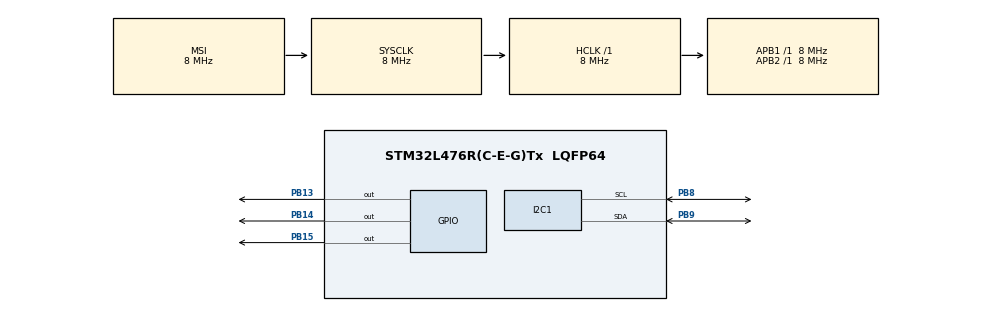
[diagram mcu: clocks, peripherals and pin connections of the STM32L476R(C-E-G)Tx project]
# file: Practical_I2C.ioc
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I2C1.Timing=0x2000090E
Mcu.Family=STM32L4
Mcu.Name=STM32L476R(C-E-G)Tx
Mcu.Package=LQFP64
NVIC.PriorityGroup=NVIC_PRIORITYGROUP_4
PA13\ (JTMS-SWDIO).Mode=Serial_Wire
PA13\ (JTMS-SWDIO).Signal=SYS_JTMS-SWDIO
PA14\ (JTCK-SWCLK).Mode=Serial_Wire
PA14\ (JTCK-SWCLK).Signal=SYS_JTCK-SWCLK
PB13.Signal=GPIO_Output
PB14.Signal=GPIO_Output
PB15.Signal=GPIO_Output
PB8.Mode=I2C
PB8.Signal=I2C1_SCL
PB9.Mode=I2C
PB9.Signal=I2C1_SDA
ProjectManager.HeapSize=0x200
ProjectManager.StackSize=0x400
ProjectManager.TargetToolchain=MDK-ARM V5
RCC.ADCFreq_Value=32000000
RCC.AHBFreq_Value=8000000
RCC.APB1Freq_Value=8000000
RCC.APB1TimFreq_Value=8000000
RCC.APB2Freq_Value=8000000
RCC.APB2TimFreq_Value=8000000
RCC.CortexFreq_Value=8000000
RCC.HCLKFreq_Value=8000000
RCC.HSE_VALUE=8000000
RCC.HSI_VALUE=16000000
RCC.LSE_VALUE=32768
RCC.MSIClockRange=RCC_MSIRANGE_7
RCC.MSI_VALUE=8000000
RCC.SYSCLKFreq_VALUE=8000000
RCC.USBFreq_Value=32000000
RCC.VCOOutputFreq_Value=64000000
board=custom

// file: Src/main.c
/* USER CODE BEGIN Header */
/**
  ******************************************************************************
  * @file           : main.c
  * @brief          : Main program body
  ******************************************************************************
  ** This notice applies to any and all portions of this file
  * that are not between comment pairs USER CODE BEGIN and
  * USER CODE END. Other portions of this file, whether
  * inserted by the user or by software development tools
  * are owned by their respective copyright owners.
  *
  * COPYRIGHT(c) 2019 STMicroelectronics
  *
  * Redistribution and use in source and binary forms, with or without modification,
  * are permitted provided that the following conditions are met:
  *   1. Redistributions of source code must retain the above copyright notice,
  *      this list of conditions and the following disclaimer.
  *   2. Redistributions in binary form must reproduce the above copyright notice,
  *      this list of conditions and the following disclaimer in the documentation
  *      and/or other materials provided with the distribution.
  *   3. Neither the name of STMicroelectronics nor the names of its contributors
  *      may be used to endorse or promote products derived from this software
  *      without specific prior written permission.
  *
  * THIS SOFTWARE IS PROVIDED BY THE COPYRIGHT HOLDERS AND CONTRIBUTORS "AS IS"
  * AND ANY EXPRESS OR IMPLIED WARRANTIES, INCLUDING, BUT NOT LIMITED TO, THE
  * IMPLIED WARRANTIES OF MERCHANTABILITY AND FITNESS FOR A PARTICULAR PURPOSE ARE
  * DISCLAIMED. IN NO EVENT SHALL THE COPYRIGHT HOLDER OR CONTRIBUTORS BE LIABLE
  * FOR ANY DIRECT, INDIRECT, INCIDENTAL, SPECIAL, EXEMPLARY, OR CONSEQUENTIAL
  * DAMAGES (INCLUDING, BUT NOT LIMITED TO, PROCUREMENT OF SUBSTITUTE GOODS OR
  * SERVICES; LOSS OF USE, DATA, OR PROFITS; OR BUSINESS INTERRUPTION) HOWEVER
  * CAUSED AND ON ANY THEORY OF LIABILITY, WHETHER IN CONTRACT, STRICT LIABILITY,
  * OR TORT (INCLUDING NEGLIGENCE OR OTHERWISE) ARISING IN ANY WAY OUT OF THE USE
  * OF THIS SOFTWARE, EVEN IF ADVISED OF THE POSSIBILITY OF SUCH DAMAGE.
  *
  ******************************************************************************
  */
/* USER CODE END Header */

#include "main.h"

/* USER CODE BEGIN Includes */
#include "stdio.h"
/* USER CODE END Includes */

I2C_HandleTypeDef hi2c1;

/* USER CODE BEGIN PV */
	uint8_t Address;
	uint16_t Value;
	uint16_t Vol[3]; //
	uint8_t Slave_Address=0x2A;  // Slave address (FDC address is 0x2A given in data sheet)
	uint8_t Tx_Data[3]; // Transmtting Data
	uint8_t reg_ptr = 0x00; // Slave register pointer
	uint8_t Rx_Data[3]; // Receiving data
/* USER CODE END PV */

void SystemClock_Config(void);
static void MX_GPIO_Init(void);
static void MX_I2C1_Init(void);

/* USER CODE BEGIN 0 */
void write_register(uint8_t register_pointer, uint16_t register_value)
{

    Tx_Data[0] = register_pointer;     // 0x00 pointer to the register
    Tx_Data[1] = register_value>>8;    // MSB byte of 16bit data
    Tx_Data[2] = register_value;       // LSB byte of 16bit data
// Tx_Data is the array containing register pointer (1 byte) and Data (2 bytes)
    HAL_I2C_Master_Transmit(&hi2c1, Slave_Address<<1, Tx_Data, 3, 100);
}

void read_register(uint8_t register_pointer, uint8_t* receive_buffer)
{
    // Set the register pointer to, the register wanted to be read
    HAL_I2C_Master_Transmit(&hi2c1, Slave_Address<<1, &register_pointer, 1, 100);
	 // note the & operator which gives us the address of the register_pointer variable

    // receive the two 8-bit data into the receive buffer
    HAL_I2C_Master_Receive(&hi2c1, Slave_Address<<1, receive_buffer, 2, 100);
		HAL_GPIO_TogglePin(GPIOA, GPIO_PIN_5);
		HAL_Delay(10);
}

/* USER CODE END 0 */

int main(void)
{

  /* MCU Configuration--------------------------------------------------------*/

  /* Reset of all peripherals, Initializes the Flash interface and the Systick. */
  HAL_Init();

  /* Configure the system clock */
  SystemClock_Config();

  /* Initialize all configured peripherals */
  MX_GPIO_Init();
  MX_I2C1_Init();
  /* USER CODE BEGIN 2 */
	HAL_StatusTypeDef result; //
 	uint8_t i;
 	for (i=1; i<128; i++) // Scanning the I2C Bus for Slaves
 	{
		// Checking weather a device is connected to I2C bus or not
		result = HAL_I2C_IsDeviceReady(&hi2c1, (uint16_t)(i<<1), 2, 2);
		if (result == HAL_OK)
 	  {
			HAL_GPIO_TogglePin(GPIOA, GPIO_PIN_5);
			HAL_Delay(500);
			HAL_GPIO_TogglePin(GPIOA, GPIO_PIN_5);
			Address=i;
			//
				write_register(0x08, 0x2089);// 0x08 is the address of R_COUNT register in FDC
				write_register(0x10, 0x000A);// 0x10 is the address of SETTLE_COUNT register in FDC
				write_register(0x14, 0x2002);// 0x14 is the address of CLOCKDIVIDERS register in FDC
				write_register(0x19, 0x0000);// 0x19 is the address of ERROR_CONFIG register in FDC
				write_register(0x1B, 0x020D);// 0x1B is the address of CLOCKDIVIDERS register in FDC
				write_register(0x1E, 0x7C00);// 0x1E is the address of MUX_CONFIG register in FDC
				write_register(0x1A, 0x1481);// 0x1A is the address of CONFIG register in FDC
				HAL_Delay(10);
		}
 	}

  /* USER CODE END 2 */

  /* Infinite loop */
  while (1)
  {

    /* USER CODE BEGIN 3 */
		read_register(reg_ptr, Rx_Data); // Reading the data from reg_ptr and storing it in Rx_Data
		Value=Rx_Data[0];
		Value<<=8;
		Value+=Rx_Data[1];
		Vol[0]=Value;
		HAL_Delay(10);
		read_register(reg_ptr, Rx_Data);
		Value=Rx_Data[0];
		Value<<=8;
		Value+=Rx_Data[1];
		Vol[1]=Value;

		if ((Vol[0]>=Vol[1]) && (Value>219))
		{
			HAL_GPIO_WritePin(GPIOB, GPIO_PIN_13, (GPIO_PinState)SET);//Water
			HAL_GPIO_WritePin(GPIOB, GPIO_PIN_14, (GPIO_PinState)SET);//Motor
			}
		else if ((Vol[0]>=Vol[1]) && (Value<217))
		{
			HAL_GPIO_WritePin(GPIOB, GPIO_PIN_14, (GPIO_PinState)SET);//Motor
			HAL_GPIO_WritePin(GPIOB, GPIO_PIN_15, (GPIO_PinState)SET);//HalfWater
		}
		else if ((Vol[0]>=Vol[1]) && (Value<216))
		{
			HAL_GPIO_WritePin(GPIOB, GPIO_PIN_13, (GPIO_PinState)RESET);//Water
			HAL_GPIO_WritePin(GPIOB, GPIO_PIN_14, (GPIO_PinState) RESET);//Motor
			HAL_GPIO_WritePin(GPIOB, GPIO_PIN_15, (GPIO_PinState) RESET);//Water
		}
		else if ((Vol[0]<Vol[1]) && (Value<217))
		{
			HAL_GPIO_WritePin(GPIOB, GPIO_PIN_14, (GPIO_PinState) RESET);//Motor
			HAL_GPIO_WritePin(GPIOB, GPIO_PIN_15, (GPIO_PinState)SET);//HalfWater
		}
		else if ((Vol[0]<=Vol[1]) && (Value>219))
		{
			HAL_GPIO_WritePin(GPIOB, GPIO_PIN_14, (GPIO_PinState)SET);//Motor
			HAL_GPIO_WritePin(GPIOB, GPIO_PIN_13, (GPIO_PinState)SET);//LowWater
		}

  }

  /* USER CODE END 3 */
}

void SystemClock_Config(void)
{
  RCC_OscInitTypeDef RCC_OscInitStruct = {0};
  RCC_ClkInitTypeDef RCC_ClkInitStruct = {0};
  RCC_PeriphCLKInitTypeDef PeriphClkInit = {0};

  /**Initializes the CPU, AHB and APB busses clocks
  */
  RCC_OscInitStruct.OscillatorType = RCC_OSCILLATORTYPE_MSI;
  RCC_OscInitStruct.MSIState = RCC_MSI_ON;
  RCC_OscInitStruct.MSICalibrationValue = 0;
  RCC_OscInitStruct.MSIClockRange = RCC_MSIRANGE_7;
  RCC_OscInitStruct.PLL.PLLState = RCC_PLL_NONE;
  if (HAL_RCC_OscConfig(&RCC_OscInitStruct) != HAL_OK)
  {
    Error_Handler();
  }
  /**Initializes the CPU, AHB and APB busses clocks
  */
  RCC_ClkInitStruct.ClockType = RCC_CLOCKTYPE_HCLK|RCC_CLOCKTYPE_SYSCLK
                              |RCC_CLOCKTYPE_PCLK1|RCC_CLOCKTYPE_PCLK2;
  RCC_ClkInitStruct.SYSCLKSource = RCC_SYSCLKSOURCE_MSI;
  RCC_ClkInitStruct.AHBCLKDivider = RCC_SYSCLK_DIV1;
  RCC_ClkInitStruct.APB1CLKDivider = RCC_HCLK_DIV1;
  RCC_ClkInitStruct.APB2CLKDivider = RCC_HCLK_DIV1;

  if (HAL_RCC_ClockConfig(&RCC_ClkInitStruct, FLASH_LATENCY_0) != HAL_OK)
  {
    Error_Handler();
  }
  PeriphClkInit.PeriphClockSelection = RCC_PERIPHCLK_I2C1;
  PeriphClkInit.I2c1ClockSelection = RCC_I2C1CLKSOURCE_PCLK1;
  if (HAL_RCCEx_PeriphCLKConfig(&PeriphClkInit) != HAL_OK)
  {
    Error_Handler();
  }
  /**Configure the main internal regulator output voltage
  */
  if (HAL_PWREx_ControlVoltageScaling(PWR_REGULATOR_VOLTAGE_SCALE1) != HAL_OK)
  {
    Error_Handler();
  }
}

static void MX_I2C1_Init(void)
{

  hi2c1.Instance = I2C1;
  hi2c1.Init.Timing = 0x2000090E;
  hi2c1.Init.OwnAddress1 = 0;
  hi2c1.Init.AddressingMode = I2C_ADDRESSINGMODE_7BIT;
  hi2c1.Init.DualAddressMode = I2C_DUALADDRESS_DISABLE;
  hi2c1.Init.OwnAddress2 = 0;
  hi2c1.Init.OwnAddress2Masks = I2C_OA2_NOMASK;
  hi2c1.Init.GeneralCallMode = I2C_GENERALCALL_DISABLE;
  hi2c1.Init.NoStretchMode = I2C_NOSTRETCH_DISABLE;
  if (HAL_I2C_Init(&hi2c1) != HAL_OK)
  {
    Error_Handler();
  }
  /**Configure Analogue filter
  */
  if (HAL_I2CEx_ConfigAnalogFilter(&hi2c1, I2C_ANALOGFILTER_ENABLE) != HAL_OK)
  {
    Error_Handler();
  }
  /**Configure Digital filter
  */
  if (HAL_I2CEx_ConfigDigitalFilter(&hi2c1, 0) != HAL_OK)
  {
    Error_Handler();
  }

}

static void MX_GPIO_Init(void)
{
  GPIO_InitTypeDef GPIO_InitStruct = {0};

  /* GPIO Ports Clock Enable */
  __HAL_RCC_GPIOB_CLK_ENABLE();
  __HAL_RCC_GPIOA_CLK_ENABLE();

  /*Configure GPIO pin Output Level */
  HAL_GPIO_WritePin(GPIOB, GPIO_PIN_13|GPIO_PIN_14|GPIO_PIN_15, GPIO_PIN_RESET);

  /*Configure GPIO pins : PB13 PB14 PB15 */
  GPIO_InitStruct.Pin = GPIO_PIN_13|GPIO_PIN_14|GPIO_PIN_15;
  GPIO_InitStruct.Mode = GPIO_MODE_OUTPUT_PP;
  GPIO_InitStruct.Pull = GPIO_NOPULL;
  GPIO_InitStruct.Speed = GPIO_SPEED_FREQ_LOW;
  HAL_GPIO_Init(GPIOB, &GPIO_InitStruct);

}

void Error_Handler(void)
{
}

/************************ (C) COPYRIGHT STMicroelectronics *****END OF FILE****/
